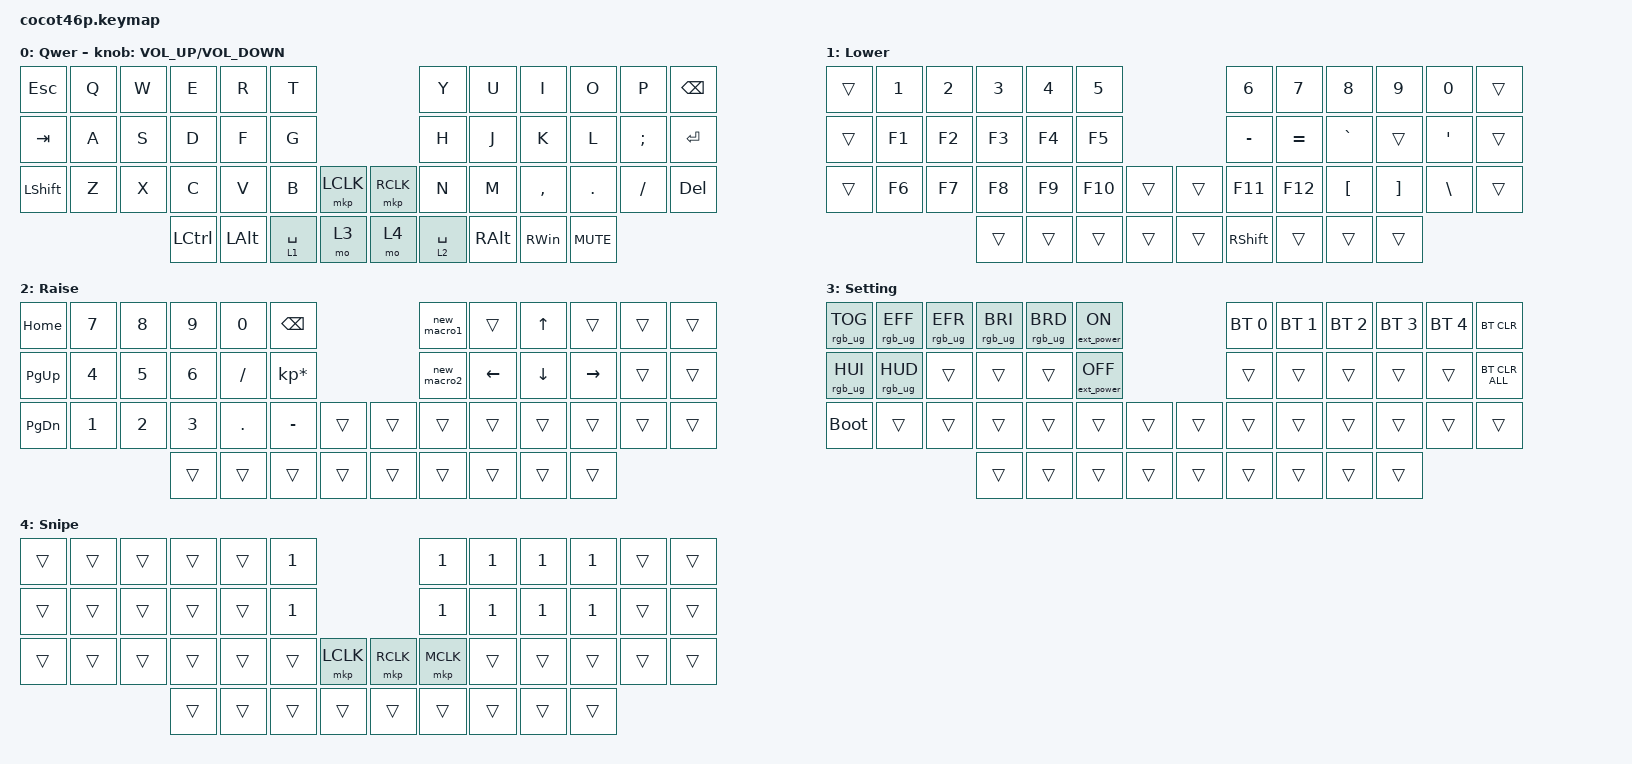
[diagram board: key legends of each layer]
/*
 * Copyright (c) 2021 The ZMK Contributors
 *
 * SPDX-License-Identifier: MIT
 */

#include <behaviors/mouse_keys.dtsi>
#include <dt-bindings/zmk/mouse.h>
#include <behaviors.dtsi>
#include <dt-bindings/zmk/bt.h>
#include <dt-bindings/zmk/ext_power.h>
#include <dt-bindings/zmk/keys.h>
#include <dt-bindings/zmk/rgb.h>

/ {
    combos { compatible = "zmk,combos"; };

    behaviors {
        hm: homerow_mods {
            compatible = "zmk,behavior-hold-tap";
            label = "HOMEROW_MODS";
            bindings = <&kp>, <&kp>;

            #binding-cells = <2>;
            tapping-term-ms = <200>;
            quick-tap-ms = <180>;
            flavor = "tap-preferred";
        };

        ltq: ltq {
            compatible = "zmk,behavior-hold-tap";
            label = "LTQ";
            bindings = <&mo>, <&kp>;

            #binding-cells = <2>;
            tapping-term-ms = <200>;
            quick-tap-ms = <180>;
        };

        as: auto_shift {
            compatible = "zmk,behavior-hold-tap";
            label = "AUTO_SHIFT";
            bindings = <&kp>, <&kp>;

            #binding-cells = <2>;
            tapping-term-ms = <135>;
            quick-tap-ms = <0>;
        };
    };

    macros {
        new_macro1: new_macro1 {
            compatible = "zmk,behavior-macro";
            #binding-cells = <0>;
            bindings = <&none &kp LS(T) &kp X &kp X &kp N2 &kp N7 &kp N1 &kp N3 &kp N1 &kp DOT &kp RET>;
            label = "NEW_MACRO1";
        };

        new_macro2: new_macro2 {
            compatible = "zmk,behavior-macro";
            #binding-cells = <0>;
            bindings = <&none &kp T &kp O &kp N &kp G &kp X &kp X &kp N0 &kp N1 &kp TAB &kp LS(T) &kp X &kp X &kp N2 &kp N7 &kp N1 &kp N3 &kp N1 &kp DOT &kp RET>;
            label = "NEW_MACRO2";
        };
    };

    keymap {
        compatible = "zmk,keymap";

        Qwer {
            bindings = <
&kp ESCAPE      &kp Q  &kp W  &kp E      &kp R         &kp T                              &kp Y        &kp U     &kp I          &kp O       &kp P          &kp BSPC
&kp TAB         &kp A  &kp S  &kp D      &kp F         &kp G                              &kp H        &kp J     &kp K          &kp L       &kp SEMICOLON  &kp ENTER
&kp LEFT_SHIFT  &kp Z  &kp X  &kp C      &kp V         &kp B        &mkp LCLK  &mkp RCLK  &kp N        &kp M     &kp COMMA      &kp PERIOD  &kp SLASH      &kp DELETE
                              &kp LCTRL  &kp LEFT_ALT  &lt 1 SPACE  &mo 3      &mo 4      &lt 2 SPACE  &kp RALT  &kp RIGHT_WIN  &kp C_MUTE
            >;

            sensor-bindings = <&inc_dec_kp C_VOLUME_UP C_VOLUME_DOWN>;
            label = "Qwer";
        };

        Lower {
            bindings = <
&trans  &kp NUMBER_1  &kp NUMBER_2  &kp NUMBER_3  &kp NUMBER_4  &kp N5                   &kp NUMBER_6  &kp N7     &kp N8     &kp N9             &kp N0         &trans
&trans  &kp F1        &kp F2        &kp F3        &kp F4        &kp F5                   &kp MINUS     &kp EQUAL  &kp GRAVE  &trans             &kp SQT        &trans
&trans  &kp F6        &kp F7        &kp F8        &kp F9        &kp F10  &trans  &trans  &kp F11       &kp F12    &kp LBKT   &kp RIGHT_BRACKET  &kp BACKSLASH  &trans
                                    &trans        &trans        &trans   &trans  &trans  &kp RSHFT     &trans     &trans     &trans
            >;

            label = "Lower";
        };

        Raise {
            bindings = <
&kp HOME       &kp N7  &kp N8  &kp N9  &kp N0    &kp BSPC                         &new_macro1  &trans    &kp UP_ARROW    &trans     &trans  &trans
&kp PAGE_UP    &kp N4  &kp N5  &kp N6  &kp FSLH  &kp KP_MULTIPLY                  &new_macro2  &kp LEFT  &kp DOWN_ARROW  &kp RIGHT  &trans  &trans
&kp PAGE_DOWN  &kp N1  &kp N2  &kp N3  &kp DOT   &kp MINUS        &trans  &trans  &trans       &trans    &trans          &trans     &trans  &trans
                               &trans  &trans    &trans           &trans  &trans  &trans       &trans    &trans          &trans
            >;

            label = "Raise";
        };

        Setting {
            bindings = <
&rgb_ug RGB_TOG  &rgb_ug RGB_EFF  &rgb_ug RGB_EFR  &rgb_ug RGB_BRI  &rgb_ug RGB_BRD  &ext_power EP_ON                   &bt BT_SEL 0  &bt BT_SEL 1  &bt BT_SEL 2  &bt BT_SEL 3  &bt BT_SEL 4  &bt BT_CLR
&rgb_ug RGB_HUI  &rgb_ug RGB_HUD  &trans           &trans           &trans           &ext_power EP_OFF                  &trans        &trans        &trans        &trans        &trans        &bt BT_CLR_ALL
&bootloader      &trans           &trans           &trans           &trans           &trans             &trans  &trans  &trans        &trans        &trans        &trans        &trans        &trans
                                                   &trans           &trans           &trans             &trans  &trans  &trans        &trans        &trans        &trans
            >;

            label = "Setting";
        };

        Snipe {
            bindings = <
&trans  &trans  &trans  &trans  &trans  &kp N1                        &kp N1     &kp N1  &kp N1  &kp N1  &trans  &trans
&trans  &trans  &trans  &trans  &trans  &kp N1                        &kp N1     &kp N1  &kp N1  &kp N1  &trans  &trans
&trans  &trans  &trans  &trans  &trans  &trans  &mkp LCLK  &mkp RCLK  &mkp MCLK  &trans  &trans  &trans  &trans  &trans
                        &trans  &trans  &trans  &trans     &trans     &trans     &trans  &trans  &trans
            >;

            label = "Snipe";
        };
    };
};
